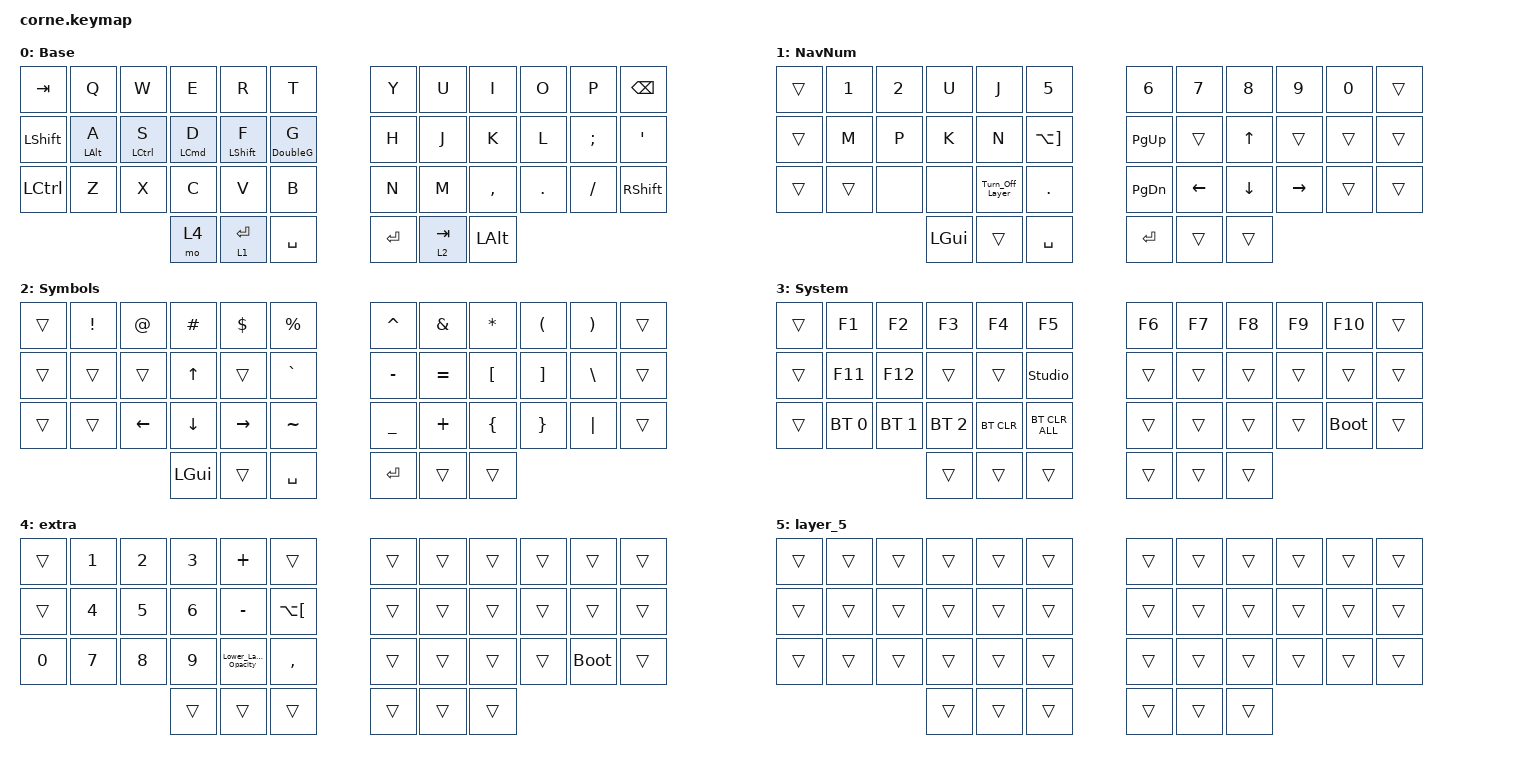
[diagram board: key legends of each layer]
#include <behaviors.dtsi>
#include <dt-bindings/zmk/bt.h>
#include <dt-bindings/zmk/keys.h>

#define DEF 0
#define NAV 1
#define SYM 2
#define ADJ 3
#define EXTRA 4

/ {
    behaviors {
        hm: homerow_mods {
            compatible = "zmk,behavior-hold-tap";
            label = "HOMEROW_MODS";
            #binding-cells = <2>;
            tapping-term-ms = <200>;
            quick_tap_ms = <0>;
            flavor = "tap-preferred";
            bindings = <&kp>, <&kp>;

            quick-tap-ms = <180>;
            global-quick-tap;
        };

        para: para {
            compatible = "zmk,behavior-tap-dance";
            label = "PARA";
            #binding-cells = <0>;
            bindings = <&kp LEFT_PARENTHESIS>, <&kp RIGHT_PARENTHESIS>;
        };

        caps: caps {
            compatible = "zmk,behavior-caps-word";
            label = "CAPS";
            #binding-cells = <0>;
            continue-list = <MINUS BACKSPACE>;
        };

        paraless: paraless {
            compatible = "zmk,behavior-mod-morph";
            label = "PARALESS";
            bindings = <&kp LEFT_PARENTHESIS>, <&kp LESS_THAN>;

            #binding-cells = <0>;
            mods = <(MOD_LSFT)>;
        };

        paragreat: paragreat {
            compatible = "zmk,behavior-mod-morph";
            label = "PARAGREAT";
            bindings = <&kp RIGHT_PARENTHESIS>, <&kp GREATER_THAN>;

            #binding-cells = <0>;
            mods = <(MOD_LSFT)>;
        };

        Sticky: Sticky {
            compatible = "zmk,behavior-sticky-key";
            label = "STICKY";
            bindings = <&sk>;
            #binding-cells = <1>;
            release-after-ms = <2000>;
            quick-release;
            ignore-modifiers;
        };

        Ht: Ht {
            compatible = "zmk,behavior-hold-tap";
            label = "HT";
            #binding-cells = <2>;
            tapping-term-ms = <200>;
            quick-tap-ms = <180>;
            require-prior-idle-ms = <0>;
            flavor = "tap-preferred";
            bindings = <&DoubleG>, <&kp>;
        };
    };

    macros {
        browsertab: browsertab {
            compatible = "zmk,behavior-macro";
            #binding-cells = <0>;
            bindings =
                <&macro_press>,
                <&kp LCTRL>,
                <&macro_tap>,
                <&kp TAB>,
                <&macro_release>,
                <&kp LCTRL>;
        };

        Lower_Layer_Opacity: Lower_Layer_Opacity {
            compatible = "zmk,behavior-macro";
            #binding-cells = <0>;
            bindings =
                <&macro_tap>,
                <&kp LA(RBKT)>,
                <&macro_tap>,
                <&kp LC(V) &kp NUMBER_1>,
                <&macro_tap>,
                <&kp LA(LBKT)>;

            label = "LOWER_LAYER_OPACITY";
        };

        Turn_Off_Layer: Turn_Off_Layer {
            compatible = "zmk,behavior-macro";
            #binding-cells = <0>;
            bindings =
                <&macro_tap>,
                <&kp LA(RBKT)>,
                <&macro_tap>,
                <&kp LC(V)>,
                <&macro_tap>,
                <&kp LA(LBKT)>;

            label = "TURN_OFF_LAYER";
        };

        DoubleG: DoubleG {
            compatible = "zmk,behavior-macro";
            #binding-cells = <0>;
            bindings = <&kp G &kp G>;
            label = "DOUBLEG";
        };
    };

    combos {
        compatible = "zmk,combos";

        escape {
            bindings = <&kp ESCAPE>;
            key-positions = <13 29>;
        };

        delete {
            bindings = <&kp DELETE>;
            key-positions = <15 21>;
        };

        perc {
            bindings = <&kp PERCENT>;
            key-positions = <5 17>;
        };

        equal {
            bindings = <&kp EQUAL>;
            key-positions = <28 16>;
        };

        dollar {
            bindings = <&kp DOLLAR>;
            key-positions = <4 16>;
        };

        pound {
            bindings = <&kp POUND>;
            key-positions = <3 15>;
        };

        at {
            bindings = <&kp AT>;
            key-positions = <2 14>;
        };

        backslash {
            bindings = <&kp BACKSLASH>;
            key-positions = <26 14>;
        };

        copy {
            bindings = <&kp K_COPY>;
            key-positions = <28 27>;
        };

        paste {
            bindings = <&kp K_PASTE>;
            key-positions = <26 27>;
        };

        star {
            bindings = <&kp STAR>;
            key-positions = <8 20>;
        };

        slash {
            bindings = <&kp SLASH>;
            key-positions = <32 20>;
        };

        plus {
            bindings = <&kp PLUS>;
            key-positions = <7 19>;
        };

        minus {
            bindings = <&kp KP_MINUS>;
            key-positions = <31 19>;
        };

        underscore {
            bindings = <&kp UNDER>;
            key-positions = <30 18>;
        };

        leftbrack {
            bindings = <&kp LEFT_BRACKET>;
            key-positions = <31 32>;
        };

        rightbrack {
            bindings = <&kp RIGHT_BRACKET>;
            key-positions = <33 32>;
        };

        para-less {
            bindings = <&paraless>;
            key-positions = <20 19>;
        };

        para-great {
            bindings = <&paragreat>;
            key-positions = <20 21>;
        };
    };

    //

    keymap {
        compatible = "zmk,keymap";

        DEF {
            display-name = "Base";

            // -----------------------------------------------------------------------------------------
            // |  Q  |  W  |  E  |  R  |  T  |   |  Y  |  U   |  I  |  O  |  P  |
            // |  A  |  S  |  D  |  F  |  G  |   |  H  |  J   |  K  |  L  |  ;  |
            // |  Z  |  X  |  C  |  V  |  B  |   |  N  |  M   |  ,  |  .  |  /  |
            // | GUI | CTRL | SHFT | LWR | SPC |   | ENT | RSE  | BKSP | ALT | ESC |

            bindings = <
&kp TAB    &kp Q       &kp W        &kp E       &kp R         &kp T        &kp Y    &kp U      &kp I         &kp O    &kp P     &kp BACKSPACE
&kp LSHFT  &hm LALT A  &hm LCTRL S  &hm LCMD D  &hm LSHIFT F  &Ht 0 G      &kp H    &kp J      &kp K         &kp L    &kp SEMI  &kp SQT
&kp LCTRL  &kp Z       &kp X        &kp C       &kp V         &kp B        &kp N    &kp M      &kp COMMA     &kp DOT  &kp FSLH  &kp RSHFT
                                    &mo 4       &lt 1 ENTER   &kp SPACE    &kp RET  &lt 2 TAB  &kp LEFT_ALT
            >;
        };

        NAV {
            display-name = "NavNum";

            // -----------------------------------------------------------------------------------------
            // |  TAB |  1  |  2  |  3  |  4  |  5  |   |  6  |  7  |  8  |  9  |  0  | BKSP |
            // | BTCLR| BT1 | BT2 | BT3 | BT4 | BT5 |   | LFT | DWN |  UP | RGT |     |      |
            // | SHFT |     |     |     |     |     |   |     |     |     |     |     |      |
            // | GUI | CTRL | SHFT | LWR | SPC |   | ENT | RSE  | BKSP | ALT | ESC |

            bindings = <
&trans  &kp N1  &kp N2  &kp U     &kp J            &kp N5                   &kp N6         &kp N7          &kp N8          &kp N9           &kp N0  &trans
&trans  &kp M   &kp P   &kp K     &kp N            &kp LA(RIGHT_BRACKET)    &kp PG_UP      &trans          &kp UP_ARROW    &trans           &trans  &trans
&trans  &trans  &none   &none     &Turn_Off_Layer  &kp PERIOD               &kp PAGE_DOWN  &kp LEFT_ARROW  &kp DOWN_ARROW  &kp RIGHT_ARROW  &trans  &trans
                        &kp LGUI  &trans           &kp SPACE                &kp RET        &trans          &trans
            >;
        };

        SYM {
            display-name = "Symbols";

            // -----------------------------------------------------------------------------------------
            // |  TAB |  !  |  @  |  #  |  $  |  %  |   |  ^  |  &  |  *  |  (  |  )  | BKSP |
            // | CTRL |     |     |     |     |     |   |  -  |  =  |  [  |  ]  |  \  |  `   |
            // | SHFT |     |     |     |     |     |   |  _  |  +  |  {  |  }  | "|" |  ~   |
            //                    | GUI |     | SPC |   | ENT |     | ALT |

            bindings = <
&trans  &kp EXCL  &kp AT          &kp HASH        &kp DLLR         &kp PRCNT    &kp CARET  &kp AMPS   &kp ASTRK  &kp LEFT_PARENTHESIS  &kp RPAR  &trans
&trans  &trans    &trans          &kp UP_ARROW    &trans           &kp GRAVE    &kp MINUS  &kp EQUAL  &kp LBKT   &kp RBKT              &kp BSLH  &trans
&trans  &trans    &kp LEFT_ARROW  &kp DOWN_ARROW  &kp RIGHT_ARROW  &kp TILDE    &kp UNDER  &kp PLUS   &kp LBRC   &kp RBRC              &kp PIPE  &trans
                                  &kp LGUI        &trans           &kp SPACE    &kp RET    &trans     &trans
            >;
        };

        ADJ {
            display-name = "System";
            bindings = <
&trans  &kp F1        &kp F2        &kp F3        &kp F4      &kp F5            &kp F6  &kp F7  &kp F8  &kp F9  &kp F10      &trans
&trans  &kp F11       &kp F12       &trans        &trans      &studio_unlock    &trans  &trans  &trans  &trans  &trans       &trans
&trans  &bt BT_SEL 0  &bt BT_SEL 1  &bt BT_SEL 2  &bt BT_CLR  &bt BT_CLR_ALL    &trans  &trans  &trans  &trans  &bootloader  &trans
                                    &trans        &trans      &trans            &trans  &trans  &trans
            >;
        };

        EXTRA {
            display-name = "extra";
            bindings = <
&trans  &kp NUMBER_1  &kp NUMBER_2  &kp NUMBER_3  &kp PLUS              &trans          &trans  &trans  &trans  &trans  &trans       &trans
&trans  &kp NUMBER_4  &kp N5        &kp NUMBER_6  &kp MINUS             &kp LA(LBKT)    &trans  &trans  &trans  &trans  &trans       &trans
&kp N0  &kp N7        &kp N8        &kp N9        &Lower_Layer_Opacity  &kp COMMA       &trans  &trans  &trans  &trans  &bootloader  &trans
                                    &trans        &trans                &trans          &trans  &trans  &trans
            >;
        };

        layer_5 {
            bindings = <
&trans  &trans  &trans  &trans  &trans  &trans    &trans  &trans  &trans  &trans  &trans  &trans
&trans  &trans  &trans  &trans  &trans  &trans    &trans  &trans  &trans  &trans  &trans  &trans
&trans  &trans  &trans  &trans  &trans  &trans    &trans  &trans  &trans  &trans  &trans  &trans
                        &trans  &trans  &trans    &trans  &trans  &trans
            >;
        };
    };

    conditional_layers {
        compatible = "zmk,conditional-layers";

        l3 {
            if-layers = <1 2>;
            then-layer = <3>;
        };
    };
};
